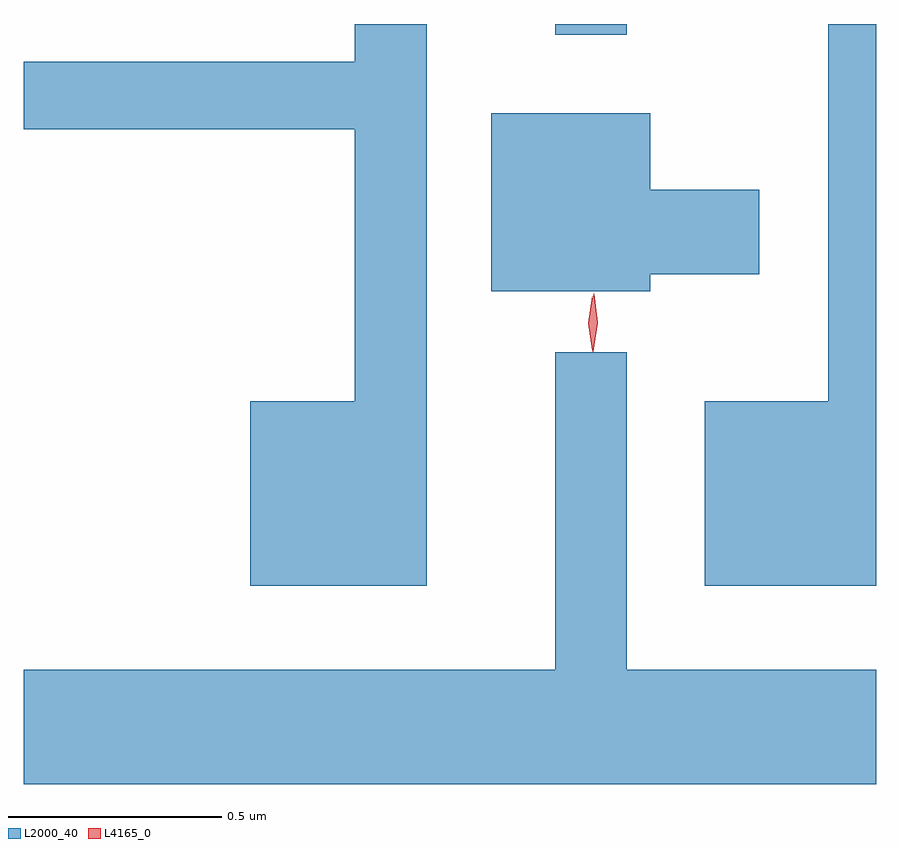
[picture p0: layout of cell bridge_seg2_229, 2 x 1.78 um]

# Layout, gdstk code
import gdstk
lib = gdstk.Library(unit=1e-6, precision=1e-09)
def R(c, l, rs):  # rectangles x0, y0, x1, y1
    for r in rs: c.add(gdstk.rectangle(r[:2], r[2:], *l))
def P(c, l, *ps):  # polygons
    for p in ps: c.add(gdstk.Polygon(p, *l))
L2000_40 = (2000, 40)
L4165_0 = (4165, 0)

bridge_seg2_229 = lib.new_cell('bridge_seg2_229')
R(bridge_seg2_229, L2000_40, [(593.041,1103.353,593.209,1103.378)])
P(bridge_seg2_229, L2000_40, [(592.739,1103.378),(592.571,1103.378),(592.571,1103.289),(591.794,1103.289),(591.794,1103.131),(592.571,1103.131),(592.571,1102.494),(592.326,1102.494),(592.326,1102.061),(592.739,1102.061)],
  [(593.794,1103.378),(593.681,1103.378),(593.681,1102.494),(593.391,1102.494),(593.391,1102.061),(593.794,1102.061)],
  [(593.264,1102.791),(593.519,1102.791),(593.519,1102.989),(593.264,1102.989),(593.264,1103.169),(592.891,1103.169),(592.891,1102.751),(593.264,1102.751)],
  [(593.794,1101.864),(593.209,1101.864),(593.209,1102.608),(593.041,1102.608),(593.041,1101.864),(591.794,1101.864),(591.794,1101.596),(593.794,1101.596)])
P(bridge_seg2_229, L4165_0, [(593.127,1102.613),(593.118,1102.676),(593.127,1102.74),(593.128,1102.74),(593.128,1102.74),(593.138,1102.676),(593.128,1102.613),(593.128,1102.613)],
  [(593.129,1102.61),(593.121,1102.678),(593.131,1102.745),(593.132,1102.746),(593.132,1102.745),(593.141,1102.678),(593.13,1102.61),(593.13,1102.61)])

lib.write_gds('bridge_seg2_229.gds')
